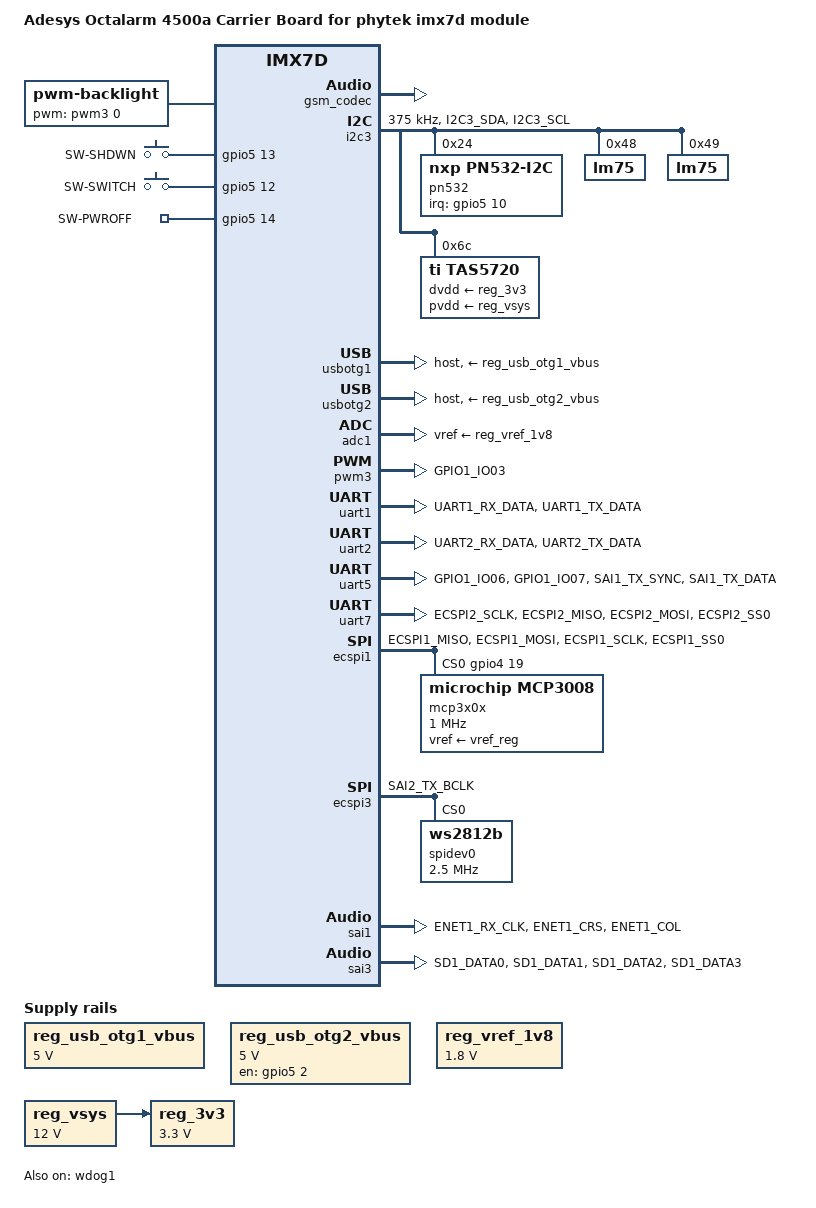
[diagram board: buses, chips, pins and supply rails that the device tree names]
/*
 * This program is free software; you can redistribute it and/or modify
 * it under the terms of the GNU General Public License version 2 as
 * published by the Free Software Foundation.
 *
 * This file configures the interfaces supported by imx7 Dual
 * on Adesys ADS4500A
 *
 */

/ {
	model = "Adesys Octalarm 4500a Carrier Board for phytek imx7d module";
	compatible = "adesys,ads4500a", "phytec,imx7-phycore-som", "fsl,imx7d";

	regulators {
		compatible = "simple-bus";
		#address-cells = <1>;
		#size-cells = <0>;

		reg_usb_otg1_vbus: regulator@0 {
			compatible = "regulator-fixed";
			reg = <0>;
			regulator-name = "usb_otg1_vbus";
			regulator-min-microvolt = <5000000>;
			regulator-max-microvolt = <5000000>;
		};

		reg_usb_otg2_vbus: regulator@1 {
			compatible = "regulator-fixed";
			reg = <1>;
			regulator-name = "usb_otg2_vbus";
			regulator-min-microvolt = <5000000>;
			regulator-max-microvolt = <5000000>;
			gpio = <&gpio5 2 GPIO_ACTIVE_HIGH>;
			enable-active-high;
		};

		reg_vref_1v8: regulator@2 {
			compatible = "regulator-fixed";
			reg = <2>;
			regulator-name = "vref-1v8";
			regulator-min-microvolt = <1800000>;
			regulator-max-microvolt = <1800000>;
		};

		reg_vsys: fixedregulator@3 {
			compatible = "regulator-fixed";
			reg = <3>;
			regulator-name = "reg_vsys";
			regulator-min-microvolt = <12000000>;
			regulator-max-microvolt = <12000000>;
			regulator-boot-on;
		};

		reg_3v3: fixedregulator@4 {
			compatible = "regulator-fixed";
			reg = <4>;
			vin-supply = <&reg_vsys>;
			regulator-name = "reg_3v3";
			regulator-min-microvolt = <3300000>;
			regulator-max-microvolt = <3300000>;
			regulator-boot-on;
		};

		/* For display backlight */
		backlight: backlight {
			compatible = "pwm-backlight";
			pwms = <&pwm3 0 50000 0>;
		};
	};
	
	sound {
		compatible = "simple-bus";
		#address-cells = <1>;
		#size-cells = <0>;
		
		sound_speaker: sound@0 {
			reg = <0>;
			compatible = "simple-audio-card";
			simple-audio-card,name = "Octalarm-Speaker";
			
			simple-audio-card,dai-link@0 {	/* Mono onboard speaker */
				reg = <0>;
				frame-master = <&imx7d_sai1_master>;
				bitclock-master = <&imx7d_sai1_master>;
				format = "i2s";

				imx7d_sai1_master: cpu {
					dai-tdm-slot-num = <2>;
					dai-tdm-slot-width = <32>;
					sound-dai = <&sai1>;
				};

				codec {
					sound-dai = <&tas5720>;
				};
			};
		};
		sound_gsm: sound@1 {
			reg = <1>;
			compatible = "simple-audio-card";
			simple-audio-card,name = "Octalarm-GSM";

			simple-audio-card,bitclock-master = <&telephony_link_master>;
			simple-audio-card,frame-master = <&telephony_link_master>;
			simple-audio-card,format = "i2s";
			simple-audio-card,bitclock-inversion;
			simple-audio-card,frame-inversion;

			simple-audio-card,cpu {
				sound-dai = <&sai3>;
			};

			telephony_link_master: simple-audio-card,codec {
				sound-dai = <&gsm_codec>;
			};
		};
		gsm_codec: gsm_codec {
			compatible = "option,gtm601";
			#sound-dai-cells = <0>;
		};
	};

        gpio-keys {
                compatible = "gpio-keys";
                pinctrl-names = "default";
                pinctrl-0 = <&pinctrl_powerkeys>;
		// hardware-generated signal, asserted when GPIO5 12 is pressed for >2 seconds
                shutdown {
                        label = "SW-SHDWN";
                        gpios = <&gpio5 13 GPIO_ACTIVE_HIGH>; /* SW-SHDWN */
                        linux,code = <KEY_POWER>;
                        debounce-interval = <1>;
                };
		// actual user button marked PWR-OFF on PCB
                switch {
                        label = "SW-SWITCH";
                        gpios = <&gpio5 12 GPIO_ACTIVE_HIGH>; /* SW-SWITCH */
                        linux,code = <BTN_0>;
                };
        };

        // GPIO output driven by Linux on poweroff, requires CONFIG_POWER_RESET_GPIO=y
	// this drives SW-PWROFF high
        gpio-poweroff {
                compatible = "gpio-poweroff";
                label = "SW-PWROFF";
                gpios = <&gpio5 14 GPIO_ACTIVE_HIGH>; /* SW-PWROFF */
        };
};

&gpio1 {
	/*
	 * Legend:
	 * "NC" = not connected (no rail from the SoC)
	 * "[FOO]" = pin is muxed for peripheral FOO (not GPIO)
	 * "" = No idea
	 * "FOO" = GPIO line named "FOO" on the schematic
	 * "FOO_N" = GPIO line named "FOO" on schematic, active low
	 */
	gpio-line-names = "[GPIO1-IO00]", "SPK-SDZ"/*IO1*/, "[GPIO1-IO02]", "[GPIO1-IO03]", "RS485-RE",   "GSM-FORCEOFF", "[GPIO1-IO06]", "[GPIO1-IO07]",
					  "[GPIO1-IO08]", "OUT4-REL",       "[GPIO1-IO10]", "[GPIO1-IO11]", "[GPIO1-IO12]", "[GPIO1-IO13]", "[GPIO1-IO14]", "[GPIO1-IO15]",
					  "[GPIO1-IO16]", "[GPIO1-IO17]",   "[GPIO1-IO18]", "[GPIO1-IO19]", "[GPIO1-IO20]", "[GPIO1-IO21]", "[GPIO1-IO22]", "[GPIO1-IO23]",
					  "[GPIO1-IO24]", "[GPIO1-IO25]",   "[GPIO1-IO26]", "[GPIO1-IO27]", "[GPIO1-IO28]", "[GPIO1-IO29]", "[GPIO1-IO30]", "[GPIO1-IO31]";
};

&gpio2 {
	gpio-line-names = "[GPIO2-IO00]", "[GPIO2-IO01]", "[GPIO2-IO02]", "[GPIO2-IO03]", "[GPIO2-IO04]", "[GPIO2-IO05]", "[GPIO2-IO06]", "[GPIO2-IO07]",
					  "[GPIO2-IO08]", "[GPIO2-IO09]", "MDM-RI",       "[GPIO2-IO11]", "OUT3-REL",     "[GPIO2-IO13]", "[GPIO2-IO14]", "DIS-FORCEOFF",
					  "[GPIO2-IO16]", "[GPIO2-IO17]", "[GPIO2-IO18]", "[GPIO2-IO19]", "[GPIO2-IO20]", "[GPIO2-IO21]", "[GPIO2-IO22]", "[GPIO2-IO23]",
					  "[GPIO2-IO24]", "[GPIO2-IO25]", "[GPIO2-IO26]", "[GPIO2-IO27]", "[GPIO2-IO28]", "[GPIO2-IO29]", "MDM-DCD",      "[GPIO2-IO31]";
};

&gpio3 {
	gpio-line-names = "[GPIO3-IO00]", "[GPIO3-IO01]", "[GPIO3-IO02]", "[GPIO3-IO03]", "[GPIO3-IO04]", "[GPIO3-IO05]", "[GPIO3-IO06]", "[GPIO3-IO07]",
					  "[GPIO3-IO08]", "[GPIO3-IO09]", "[GPIO3-IO10]", "[GPIO3-IO11]", "[GPIO3-IO12]", "[GPIO3-IO13]", "[GPIO3-IO14]", "[GPIO3-IO15]",
					  "[GPIO3-IO16]", "[GPIO3-IO17]", "[GPIO3-IO18]", "[GPIO3-IO19]", "[GPIO3-IO20]", "[GPIO3-IO21]", "[GPIO3-IO22]", "[GPIO3-IO23]",
					  "[GPIO3-IO24]", "[GPIO3-IO25]", "[GPIO3-IO26]", "[GPIO3-IO27]", "[GPIO3-IO28]", "[GPIO3-IO29]", "[GPIO3-IO30]", "[GPIO3-IO31]";
};


&gpio4 {
	gpio-line-names = "[GPIO4-IO00]", "[GPIO4-IO01]", "[GPIO4-IO02]", "[GPIO4-IO03]", "[GPIO4-IO04]", "[GPIO4-IO05]", "RS485-PWR",    "RS485-DE",
					  "[GPIO4-IO08]", "[GPIO4-IO09]", "[GPIO4-IO10]", "[GPIO4-IO11]", "[GPIO4-IO12]", "[GPIO4-IO13]", "MDM-DTR",      "MDM-RST",
					  "[GPIO4-IO16]", "[GPIO4-IO17]", "[GPIO4-IO18]", "ADC-SPI-SS",   "[GPIO4-IO20]", "[GPIO4-IO21]", "[GPIO4-IO22]", "[GPIO4-IO23]",
					  "[GPIO4-IO24]", "[GPIO4-IO25]", "[GPIO4-IO26]", "[GPIO4-IO27]", "[GPIO4-IO28]", "[GPIO4-IO29]", "[GPIO4-IO30]", "[GPIO4-IO31]";
};

&gpio5 {
	gpio-line-names = "[GPIO5-IO00]", "[GPIO5-IO01]", "[GPIO5-IO02]", "[GPIO5-IO03]", "[GPIO5-IO04]", "[GPIO5-IO05]", "[GPIO5-IO06]", "[GPIO5-IO07]",
					  "[GPIO5-IO08]", "OUT2-OC",      "NFC-IRQ",      "[GPIO5-IO11]", "[GPIO5-IO12]", "[GPIO5-IO13]", "SW-PWROFF", "[GPIO5-IO15]",
					  "[GPIO5-IO16]", "[GPIO5-IO17]", "[GPIO5-IO18]", "[GPIO5-IO19]", "[GPIO5-IO20]", "[GPIO5-IO21]", "[GPIO5-IO22]", "[GPIO5-IO23]",
					  "[GPIO5-IO24]", "[GPIO5-IO25]", "[GPIO5-IO26]", "[GPIO5-IO27]", "[GPIO5-IO28]", "[GPIO5-IO29]", "[GPIO5-IO30]", "[GPIO5-IO31]";
};

&gpio6 {
	gpio-line-names = "[GPIO6-IO00]", "[GPIO6-IO01]", "[GPIO6-IO02]", "[GPIO6-IO03]", "[GPIO6-IO04]", "[GPIO6-IO05]", "[GPIO6-IO06]", "[GPIO6-IO07]",
					  "[GPIO6-IO08]", "[GPIO6-IO09]", "[GPIO6-IO10]", "[GPIO6-IO11]", "[GPIO6-IO12]", "[GPIO6-IO13]", "[GPIO6-IO14]", "[GPIO6-IO15]",
					  "[GPIO6-IO16]", "[GPIO6-IO17]", "OUT1-OC",      "[GPIO6-IO19]", "[GPIO6-IO20]", "GSM-RST",      "GSM-WAKE",     "[GPIO6-IO23]",
					  "[GPIO6-IO24]", "[GPIO6-IO25]", "[GPIO6-IO26]", "[GPIO6-IO27]", "[GPIO6-IO28]", "[GPIO6-IO29]", "[GPIO6-IO30]", "[GPIO6-IO31]";
};

&iomuxc {
	pinctrl-names = "default";
	pinctrl-0 = <&pinctrl_hog_1 &pinctrl_hog_2 &pinctrl_hog_lcd>;

	imx7d-phycore {
		pinctrl_hog_2: hoggrp-2 {
			fsl,pins = <
				MX7D_PAD_SD1_CD_B__GPIO5_IO0		0x3D /* BRD-ID0, 5k pull-up, slow, x4 drive, hys */
				MX7D_PAD_SD1_WP__GPIO5_IO1			0x3D /* BRD-ID1, 5k pull-up, slow, x4 drive, hys */
				MX7D_PAD_SD1_CMD__GPIO5_IO4			0x3D /* BRD-ID2; 5k pull-up slow, x1, hys @TODO */
				MX7D_PAD_EPDC_PWR_COM__GPIO2_IO30	0x59 /* MDM-DCD; Modem Data Carrier Detect, 47k pull-up(@TODO) */
				MX7D_PAD_EPDC_DATA10__GPIO2_IO10	0x59 /* MDM-RI; Modem Ring indicator, 47k pull-up(@TODO) */
				MX7D_PAD_EPDC_DATA11__GPIO2_IO11	0x59 /* MDM-RELAIS, 47k pull-up(@TODO) */
				MX7D_PAD_I2C4_SCL__GPIO4_IO14		0x59 /* MDM-DTS, 47k pull-up(@TODO) */
				MX7D_PAD_I2C4_SDA__GPIO4_IO15		0x59 /* MDM-RST, 47k pull-up(@TODO) */
				MX7D_PAD_EPDC_DATA12__GPIO2_IO12	0x59 /* OUT3_REL, 47k pull-up(@TODO) */
				MX7D_PAD_GPIO1_IO09__GPIO1_IO9		0x59 /* OUT4_REL, 47k pull-up(@TODO) */
				MX7D_PAD_EPDC_DATA13__GPIO2_IO13	0x39 /* BOOT-SEL; Boot Circuit Buffer Enable#, 5k pull-up (!), x4 drive, hys */
				MX7D_PAD_EPDC_DATA14__GPIO2_IO14	0x59 /* DIS-AVDD-GD, 47k pull-up(@TODO) */
				MX7D_PAD_EPDC_DATA15__GPIO2_IO15	0x1c /* DIS-FORCEOFF, 100k pull-down, slow, x1, hys */
				MX7D_PAD_SD2_DATA1__GPIO5_IO15		0x1c /* BOOT-OPT1; 100k pull-down, slow, x1, hys */
				MX7D_PAD_SD2_DATA2__GPIO5_IO16		0x1c /* BOOT-OPT2; 100k pull-down, slow, x1, hys */
				MX7D_PAD_SD2_DATA3__GPIO5_IO17		0x1c /* BOOT-OPT3; 100k pull-down, slow, x1, hys */
				MX7D_PAD_GPIO1_IO12__GPIO1_IO12		0x1c /* CH-STAT1 input; 100k pull-down, slow, x1, hys */
				MX7D_PAD_GPIO1_IO13__GPIO1_IO13		0x1c /* CH-STAT2 input; 100k pull-down, slow, x1, hys */
				MX7D_PAD_GPIO1_IO14__GPIO1_IO14		0x1c /* CH-PG input; 100k pull-down, slow, x1, hys */
				MX7D_PAD_GPIO1_IO15__GPIO1_IO15		0x1c /* CH-EN input; 100k pull-down, slow, x1, hys */
				MX7D_PAD_EPDC_DATA08__GPIO2_IO8		0x1c /* CH-TEST1 output; 100k pull-down, slow, x1, hys */
				MX7D_PAD_EPDC_DATA09__GPIO2_IO9		0x1c /* CH-TEST2 output; 100k pull-down, slow, x1, hys */
				MX7D_PAD_SAI1_RX_DATA__GPIO6_IO12	0x1c /* OWR-TX; 100k pull-down, slow, x1, hys @TODO */
				MX7D_PAD_SAI1_TX_BCLK__GPIO6_IO13	0x1c /* OWR-RX; 100k pull-down, slow, x1, hys */
				MX7D_PAD_SAI1_MCLK__GPIO6_IO18		0x1c /* OUT1-OC; 100k pull-down, slow, x1, hys */
				MX7D_PAD_SD2_CD_B__GPIO5_IO9		0x1c /* OUT2-OC; 100k pull-down, slow, x1, hys */
				MX7D_PAD_SD2_WP__GPIO5_IO10		0x59 /* NCF-IRQ; 47k pull-up(@TODO) */
				MX7D_PAD_SAI2_RX_DATA__GPIO6_IO21	0x1c /* GSM-RST, 100k pull-down, slow, x1, hys */
				MX7D_PAD_SD1_RESET_B__GPIO5_IO2		0x1c /* USB-PWR for USB2, disable by default, 100k pull-down */
				MX7D_PAD_UART3_RTS_B__GPIO4_IO6		0x1c /* RS485-PWR, disable by default, 100k pull-down */
				MX7D_PAD_GPIO1_IO01__GPIO1_IO1		0x1c /* SPK-SDZ, active low shutdown, 100k pull-down */
				MX7D_PAD_SAI2_TX_SYNC__GPIO6_IO19	0x0c /* SPK-FAULT, open-drain, no PD/PU: (10k external pull-up) */
				MX7D_PAD_GPIO1_IO05__GPIO1_IO5		0x1c /* GSM-FORCEOFF; 100k pull-down, slow, x1, hys */

			>;
		};

		pinctrl_i2c3: i2c3grp {
			fsl,pins = <
				MX7D_PAD_I2C3_SDA__I2C3_SDA	0x4000007e /* @TODO find out where 0x4... is for... not in i.MX7DRM? */
				MX7D_PAD_I2C3_SCL__I2C3_SCL	0x4000007e /* 100k pull-up, slow, x2, hys */
			>;
		};

		pinctrl_powerkeys: powerkeys {
			fsl,pins = <
				MX7D_PAD_SD2_CLK__GPIO5_IO12		0x1c /* SW-SWITCH; Software switch input, 100k pull-down, slow, x1, hys */
				MX7D_PAD_SD2_CMD__GPIO5_IO13		0x1c /* SW-SHDWN; Software shutdown input, 100k pull-down, slow, x1, hys */
				MX7D_PAD_SD2_DATA0__GPIO5_IO14		0x1c /* SW-PWROFF output, 100k pull-down, slow, x1, hys */
		        >;
		};
	};
};

&iomuxc_lpsr {
	pinctrl-names = "default";
	imx7d-phycore {
		pinctrl_wdog: wdoggrp {
			fsl,pins = <
				MX7D_PAD_GPIO1_IO00__WDOD1_WDOG_B	0x74 /* switch to WDOG_B function, with power-up default pad config: 100k pull-up, fast, hys, x1 */
			>;
		};
	};
};

&i2c3 {
	/* see erratum e7805, reduce I2C speed below 384000 */
	clock-frequency = <375000>;
	pinctrl-names = "default";
	pinctrl-0 = <&pinctrl_i2c3>;
	status = "okay";

	pn532: pn532@24 {
		compatible = "nxp,pn532-i2c";
		reg = <0x24>;
		interrupt-parent = <&gpio5>;
		interrupts = <10 IRQ_TYPE_EDGE_FALLING>;
	};	

	lm75@48 {
			compatible = "lm75";
			reg = <0x48>;
			status = "okay";
	};
	lm75@49 {
			compatible = "lm75";
			reg = <0x49>;
			status = "okay";
	};
	rtc@51 {
		compatible = "nxp,pcf85263", "nxp,pcf85363";
		reg = <0x51>;
		status = "disabled";	/* SDA/SCL lines switched */
	};
	tas5720: tas5720@6c {
		#sound-dai-cells = <0>;
		compatible = "ti,tas5720";
		reg = <0x6c>;
		dvdd-supply = <&reg_3v3>;
		pvdd-supply = <&reg_vsys>;
	};
};

&usbotg1 {
	vbus-supply = <&reg_usb_otg1_vbus>;
	dr_mode = "host";
	status = "okay";
};

&usbotg2 {
	vbus-supply = <&reg_usb_otg2_vbus>;
	dr_mode = "host";
	status = "okay";
};

&wdog1 {
	pinctrl-names = "default";
	pinctrl-0 = <&pinctrl_wdog>;
	fsl,ext-reset-output;
	status = "okay";
};

&adc1 {
	vref-supply = <&reg_vref_1v8>;
	status = "okay";
};

&iomuxc_lpsr {
	imx7d-phycore {
		pinctrl_pwm3: pwmgrp {
			fsl,pins = <
				MX7D_PAD_GPIO1_IO03__PWM3_OUT		0x30 /* PWM3 */
			>;
		};
		pinctrl_uart5: uart5grp {
			fsl,pins = <
				MX7D_PAD_GPIO1_IO06__UART5_DCE_RX	0x79 /* UART-RX */
				MX7D_PAD_GPIO1_IO07__UART5_DCE_TX	0x79 /* UART-TX */
			>;
		};
	};
};

&i2c2 {
	status = "disabled";
};

&pwm3 {
	pinctrl-names = "default";
	pinctrl-0 = <&pinctrl_pwm3>;
	status = "okay";
};

&iomuxc {
	imx7d-phycore {

		pinctrl_uart1: uart1grp {
			fsl,pins = <
				MX7D_PAD_UART1_RX_DATA__UART1_DCE_RX	0x79
				MX7D_PAD_UART1_TX_DATA__UART1_DCE_TX	0x79
			>;
		};

		pinctrl_uart2: uart2grp {
			fsl,pins = <
				MX7D_PAD_UART2_RX_DATA__UART2_DCE_RX	0x79
				MX7D_PAD_UART2_TX_DATA__UART2_DCE_TX	0x79
			>;
		};

		pinctrl_uart3: uart3grp {
			fsl,pins = <
				MX7D_PAD_UART3_RX_DATA__UART3_DCE_RX	0x79
				MX7D_PAD_UART3_TX_DATA__UART3_DCE_TX	0x79
			>;
		};

		pinctrl_uart5_rtscts: uart5grp_rtscts {
			fsl,pins = <
				MX7D_PAD_SAI1_TX_SYNC__UART5_DCE_CTS	0x79 /* UART-CTS */
				MX7D_PAD_SAI1_TX_DATA__UART5_DCE_RTS	0x79 /* UART-RTS, 100k pull-up, hys, x4 */
			>;
		};

		pinctrl_uart7: uart7grp {
			fsl,pins = <
				MX7D_PAD_ECSPI2_SCLK__UART7_DCE_RX	0x79
				MX7D_PAD_ECSPI2_MISO__UART7_DCE_RTS	0x79
				MX7D_PAD_ECSPI2_MOSI__UART7_DCE_TX	0x79
				MX7D_PAD_ECSPI2_SS0__UART7_DCE_CTS	0x79
			>;
		};

		pinctrl_ecspi1: ecspi1grp {
			fsl,pins = <
				MX7D_PAD_ECSPI1_MISO__ECSPI1_MISO	0x2
				MX7D_PAD_ECSPI1_MOSI__ECSPI1_MOSI	0x2
				MX7D_PAD_ECSPI1_SCLK__ECSPI1_SCLK	0x2
//				MX7D_PAD_ECSPI1_SS0__ECSPI1_SS0		0x59
				MX7D_PAD_ECSPI1_SS0__GPIO4_IO19		0x59
			>;
		};

		pinctrl_ecspi3: ecspi3grp {
			fsl,pins = <
//				MX7D_PAD_SAI2_TX_SYNC__ECSPI3_MISO	0x2
				MX7D_PAD_SAI2_TX_BCLK__ECSPI3_MOSI	0x12
//				MX7D_PAD_SAI2_RX_DATA__ECSPI3_SCLK	0x2
//				MX7D_PAD_SD2_CD_B__GPIO5_IO9		0x59
			>;
		};
		pinctrl_hog_lcd: hog_lcdgrp {
			fsl,pins = <
				MX7D_PAD_LCD_RESET__GPIO3_IO4		0x79 /* DIS-RST */
			>;
		};

		pinctrl_edt_ts_irq: tsirqgrp {
			fsl,pins = <
				MX7D_PAD_ENET1_TX_CLK__GPIO7_IO12	0x59 /* TOUCH-INT */
			>;
		};
        pinctrl_sai1: sai1grp {
			fsl,pins = <
				MX7D_PAD_ENET1_RX_CLK__SAI1_TX_BCLK     0x1c
				MX7D_PAD_ENET1_CRS__SAI1_TX_SYNC 		0x1c /* SPK-LRCLK */
				MX7D_PAD_ENET1_COL__SAI1_TX_DATA0 		0x1c /* SPK-SDIN */
//              MX7D_PAD_ENET1_TX_CLK__SAI1_RX_DATA0    0x1f
			>;
        };
        pinctrl_sai3: sai3grp {
			fsl,pins = <
				MX7D_PAD_SD1_DATA0__SAI3_RX_DATA0		0x00 /* PCM-DOUT */
				MX7D_PAD_SD1_DATA1__SAI3_TX_BCLK		0x00 /* PCM-CLK */
				MX7D_PAD_SD1_DATA2__SAI3_TX_SYNC		0x00 /* PCM-SYNC */
				MX7D_PAD_SD1_DATA3__SAI3_TX_DATA0		0x00 /* PCM-DIN */
			>;
        };
    };
};

&uart1 {
	pinctrl-names = "default";
	pinctrl-0 = <&pinctrl_uart1>;
	assigned-clocks = <&clks IMX7D_UART1_ROOT_SRC>;
	assigned-clock-parents = <&clks IMX7D_PLL_SYS_MAIN_240M_CLK>;
	status = "okay";
};

&uart2 {
	pinctrl-names = "default";
	pinctrl-0 = <&pinctrl_uart2>;
	assigned-clocks = <&clks IMX7D_UART2_ROOT_SRC>;
	assigned-clock-parents = <&clks IMX7D_PLL_SYS_MAIN_240M_CLK>;
	status = "okay";
};

&uart5 {
	pinctrl-names = "default";
	pinctrl-0 = <&pinctrl_uart5>, <&pinctrl_uart5_rtscts>;
	assigned-clocks = <&clks IMX7D_UART5_ROOT_SRC>;
	assigned-clock-parents = <&clks IMX7D_PLL_SYS_MAIN_240M_CLK>;
	status = "okay";
	uart-has-rtscts;
};

&uart7 {
	pinctrl-names = "default";
	pinctrl-0 = <&pinctrl_uart7>;
	assigned-clocks = <&clks IMX7D_UART7_ROOT_SRC>;
	assigned-clock-parents = <&clks IMX7D_PLL_SYS_MAIN_240M_CLK>;
	status = "okay";
	uart-has-rtscts;

	dcd-gpios = <&gpio2 30 GPIO_ACTIVE_LOW>;
	dtr-gpios = <&gpio4 14 GPIO_ACTIVE_LOW>;
	rng-gpios = <&gpio2 10 GPIO_ACTIVE_LOW>;
};

/* MCP3008 for 8 channel ADC */
&ecspi1 {
	pinctrl-names = "default";
	pinctrl-0 = <&pinctrl_ecspi1>;
	status = "okay";
	cs-gpios = <&gpio4 19 0>;

	mcp3x0x@0 {
		reg = <0>;
		compatible = "microchip,mcp3008";
		spi-max-frequency = <1000000>;
		vref-supply = <&vref_reg>;
	};
};

/* spi-dev driver for WS2812b */
&ecspi3 {
	pinctrl-names = "default";
	pinctrl-0 = <&pinctrl_ecspi3>;
	status = "okay";

    spidev0: spi@0 {
        reg = <0x00>;
        compatible = "ws2812b";
        // SPI CLK frequency 22.857.142 Hz
        // 44 ns per bit, 352 ns per byte
        // WS2812B 0 = 0xff 0x00 0x00
        // WS2812B 1 = 0xff 0xff 0xff
//        spi-max-frequency = <22857142>;
        spi-max-frequency = <2500000>;
        status = "okay";
    };
};

&clks {
	assigned-clocks = <&clks IMX7D_PLL_AUDIO_POST_DIV>;
	assigned-clock-rates = <884736000>;
};

&sai1 {
	#sound-dai-cells = <0>;
	pinctrl-names = "default";
	pinctrl-0 = <&pinctrl_sai1>;
	status = "okay";
	fsl,sai-synchronous-rx;
	
	assigned-clocks = <&clks IMX7D_SAI1_ROOT_SRC>,
			  <&clks IMX7D_SAI1_ROOT_CLK>;
	assigned-clock-parents = <&clks IMX7D_PLL_AUDIO_POST_DIV>;
	assigned-clock-rates = <0>, <24576000>;
};

&sai3 {
	#sound-dai-cells = <0>;
	pinctrl-names = "default";
	pinctrl-0 = <&pinctrl_sai3>;
	status = "okay";
};
